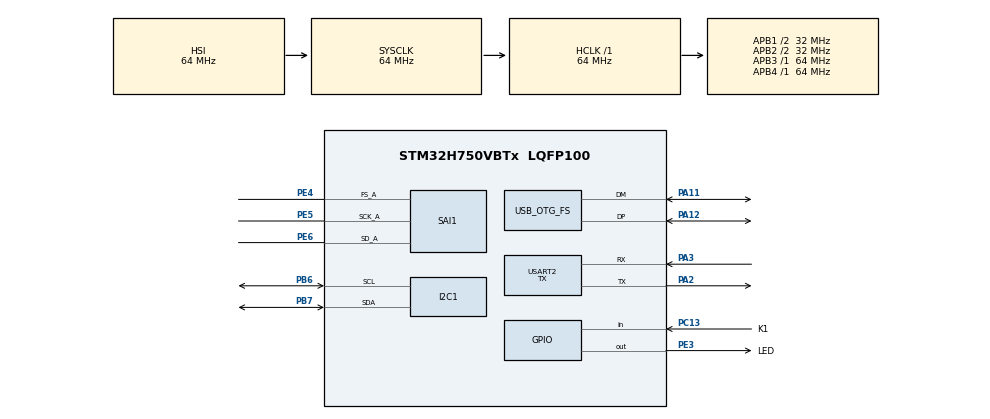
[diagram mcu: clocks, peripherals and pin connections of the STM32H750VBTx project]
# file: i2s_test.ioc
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Dma.Request0=SAI1_A
Dma.SAI1_A.0.Direction=DMA_PERIPH_TO_MEMORY
Dma.SAI1_A.0.EventEnable=DISABLE
Dma.SAI1_A.0.FIFOMode=DMA_FIFOMODE_ENABLE
Dma.SAI1_A.0.FIFOThreshold=DMA_FIFO_THRESHOLD_FULL
Dma.SAI1_A.0.Instance=DMA1_Stream0
Dma.SAI1_A.0.MemBurst=DMA_MBURST_SINGLE
Dma.SAI1_A.0.MemDataAlignment=DMA_MDATAALIGN_HALFWORD
Dma.SAI1_A.0.MemInc=DMA_MINC_ENABLE
Dma.SAI1_A.0.Mode=DMA_CIRCULAR
Dma.SAI1_A.0.PeriphBurst=DMA_PBURST_SINGLE
Dma.SAI1_A.0.PeriphDataAlignment=DMA_PDATAALIGN_HALFWORD
Dma.SAI1_A.0.PeriphInc=DMA_PINC_DISABLE
Dma.SAI1_A.0.Polarity=HAL_DMAMUX_REQ_GEN_RISING
Dma.SAI1_A.0.Priority=DMA_PRIORITY_VERY_HIGH
Dma.SAI1_A.0.RequestNumber=1
Dma.SAI1_A.0.SignalID=NONE
Dma.SAI1_A.0.SyncEnable=DISABLE
Dma.SAI1_A.0.SyncPolarity=HAL_DMAMUX_SYNC_NO_EVENT
Dma.SAI1_A.0.SyncRequestNumber=1
Dma.SAI1_A.0.SyncSignalID=NONE
I2C1.Timing=0x00707CBB
Mcu.Family=STM32H7
Mcu.Name=STM32H750VBTx
Mcu.Package=LQFP100
NVIC.DMA1_Stream0_IRQn=true\:0\:0\:false\:false\:true\:false\:true\:true
NVIC.OTG_FS_IRQn=true\:0\:0\:false\:false\:true\:true\:true\:true
NVIC.PriorityGroup=NVIC_PRIORITYGROUP_4
NVIC.SAI1_IRQn=true\:0\:0\:false\:false\:true\:true\:true\:true
NVIC.TIM1_UP_IRQn=true\:0\:0\:false\:false\:true\:true\:true\:true
PA11.Mode=Device_Only
PA11.Signal=USB_OTG_FS_DM
PA12.Mode=Device_Only
PA12.Signal=USB_OTG_FS_DP
PA2.Mode=Asynchronous
PA2.Signal=USART2_TX
PA3.Mode=Asynchronous
PA3.Signal=USART2_RX
PB6.Mode=I2C
PB6.Signal=I2C1_SCL
PB7.Mode=I2C
PB7.Signal=I2C1_SDA
PC13.GPIO_Label=K1
PC13.GPIO_PuPd=GPIO_PULLDOWN
PC13.Signal=GPIO_Input
PC14-OSC32_IN\ (OSC32_IN).Mode=LSE-External-Oscillator
PC14-OSC32_IN\ (OSC32_IN).Signal=RCC_OSC32_IN
PC15-OSC32_OUT\ (OSC32_OUT).Mode=LSE-External-Oscillator
PC15-OSC32_OUT\ (OSC32_OUT).Signal=RCC_OSC32_OUT
PE3.GPIO_Label=LED
PE3.GPIO_ModeDefaultOutputPP=GPIO_MODE_OUTPUT_PP
PE3.GPIO_PuPd=GPIO_PULLDOWN
PE3.GPIO_Speed=GPIO_SPEED_FREQ_MEDIUM
PE3.PinState=GPIO_PIN_SET
PE3.Signal=GPIO_Output
PE4.Mode=SAI_A_Master
PE4.Signal=SAI1_FS_A
PE5.Mode=SAI_A_Master
PE5.Signal=SAI1_SCK_A
PE6.Mode=SAI_A_Master
PE6.Signal=SAI1_SD_A
PH0-OSC_IN\ (PH0).Mode=HSE-External-Oscillator
PH0-OSC_IN\ (PH0).Signal=RCC_OSC_IN
PH1-OSC_OUT\ (PH1).Mode=HSE-External-Oscillator
PH1-OSC_OUT\ (PH1).Signal=RCC_OSC_OUT
ProjectManager.HeapSize=0x4000
ProjectManager.StackSize=0x2000
ProjectManager.TargetToolchain=Makefile
RCC.ADCFreq_Value=129000000
RCC.APB1Freq_Value=32000000
RCC.APB2Freq_Value=32000000
RCC.APB3Freq_Value=64000000
RCC.APB4Freq_Value=64000000
RCC.CortexFreq_Value=64000000
RCC.D2PPRE1=RCC_APB1_DIV2
RCC.D2PPRE2=RCC_APB2_DIV2
RCC.DIVN1=344
RCC.HCLKFreq_Value=64000000
RCC.PLLFRACN=4254
RCC.SYSCLKFreq_VALUE=64000000
RCC.USBCLockSelection=RCC_USBCLKSOURCE_HSI48
RCC.USBFreq_Value=48000000
SAI1.AudioFrequency-SAI_A_Master=SAI_AUDIO_FREQUENCY_48K
SAI1.AudioMode-SAI_A_Master=SAI_MODEMASTER_RX
SAI1.DataSize-SAI_A_Master=SAI_DATASIZE_16
SAI1.ErrorAudioFreq-SAI_A_Master=1.72 %
SAI1.FrameLength-SAI_A_Master=128
SAI1.Instance-SAI_A_Master=SAI$Index_Block_A
SAI1.MClockEnable=SAI_MASTERCLOCK_DISABLE
SAI1.RealAudioFreq-SAI_A_Master=48.828 KHz
SAI1.SlotNumber-SAI_A_Master=8
SAI1.SlotSize-SAI_A_Master=SAI_SLOTSIZE_16B
SAI1.VirtualMode-SAI_A_Master=VM_MASTER
TIM1.AutoReloadPreload=TIM_AUTORELOAD_PRELOAD_ENABLE
TIM1.Period=8000-1
TIM1.Prescaler=48-1
USART2.Mode=MODE_TX
USART2.VirtualMode-Asynchronous=VM_ASYNC
USB_DEVICE.CLASS_NAME_FS=AUDIO
USB_DEVICE.USBD_AUDIO_FREQ-AUDIO_FS=48000
USB_DEVICE.USBD_MAX_NUM_INTERFACES-AUDIO_FS=2
USB_DEVICE.USBD_MAX_STR_DESC_SIZ-AUDIO_FS=1024
USB_DEVICE.VirtualMode-AUDIO_FS=Audio
USB_DEVICE.VirtualModeFS=Audio_FS
USB_OTG_FS.Sof_enable=ENABLE
USB_OTG_FS.VirtualMode=Device_Only
USB_OTG_FS.dma_enable=DISABLE
VP_TIM1_VS_ClockSourceINT.Mode=Internal
VP_USB_DEVICE_VS_USB_DEVICE_AUDIO_FS.Mode=AUDIO_FS
board=custom

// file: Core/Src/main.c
/* USER CODE BEGIN Header */
/**
  ******************************************************************************
  * @file           : main.c
  * @brief          : Main program body
  ******************************************************************************
  * @attention
  *
  * Copyright (c) 2022 STMicroelectronics.
  * All rights reserved.
  *
  * This software is licensed under terms that can be found in the LICENSE file
  * in the root directory of this software component.
  * If no LICENSE file comes with this software, it is provided AS-IS.
  *
  ******************************************************************************
  */
/* USER CODE END Header */
#include "main.h"
#include "usb_device.h"

/* USER CODE BEGIN Includes */
#include <stdio.h>
#include "retarget.h"
#include "usb_audio_port.h"
#include "audio_debug.h"
/* USER CODE END Includes */

I2C_HandleTypeDef hi2c1;

SAI_HandleTypeDef hsai_BlockA1;
DMA_HandleTypeDef hdma_sai1_a;

UART_HandleTypeDef huart2;

/* USER CODE BEGIN PV */
uint8_t PlayBuff[1024];
/*?????*/
static int16_t Audio_Data_Send_Buf[STEREO_FRAME_SIZE];

/* USER CODE END PV */

void SystemClock_Config(void);
static void MX_GPIO_Init(void);
static void MX_DMA_Init(void);
static void MX_I2C1_Init(void);
static void MX_SAI1_Init(void);
static void MX_USART2_UART_Init(void);
static void MX_TIM1_Init(void);
/* USER CODE BEGIN PFP */

#define SIN_WAVE_SAMPLE_RATE	48000/**< 48K??*/
#define SIN_WAVE_FQ				100/**< 100Hz??*/
#define SIN_WAVE_MAX_POINTS		SIN_WAVE_SAMPLE_RATE/SIN_WAVE_FQ
#define SIN_WAVE_DB_VAL 		50.l

static int16_t Sin_Wave_PCM_Buf[SIN_WAVE_MAX_POINTS] = {0};
static void Sin_Audio_Init(void)
{
  float Average_Range = (float)pow(10.L, (double)((double)SIN_WAVE_DB_VAL - 94.f) / 20.L)*32767.f;
  for(int i = 0; i < SIN_WAVE_MAX_POINTS; i++)
  {
    Sin_Wave_PCM_Buf[i] = Average_Range * sin(2.f*3.14f * SIN_WAVE_FQ / SIN_WAVE_SAMPLE_RATE * i);
  }
}

/**
  ******************************************************************
  * @brief   ??USB????
  * @param   None.
  * @return  None.
  * @author  aron566
  * @version V1.0
  * @date    2021-06-01
  ******************************************************************
  */
static void Test_Audio_Port_Put_Data(void)
{
  /*??USB????*/
  static int index = 0;
  for(int i = 0; i < MONO_FRAME_SIZE; i++)
  {
    Audio_Data_Send_Buf[i] = Sin_Wave_PCM_Buf[index];/**< TO USB LEFT*/
    Audio_Data_Send_Buf[MONO_FRAME_SIZE+i] = Sin_Wave_PCM_Buf[index];/**< TO USB RIGHT*/
    index = ((index+1)%(SIN_WAVE_MAX_POINTS));
  }
}

/* USER CODE END PFP */

/* USER CODE BEGIN 0 */
void loop(void){
	// if(HAL_OK != HAL_SAI_Receive_DMA (&hsai_BlockA1, (uint8_t *) &PlayBuff[0], 128))
	// {
	//   Error_Handler();
	// }

  // for (int i =0; i<480; i++){
  //   printf ("%d ", Sin_Wave_PCM_Buf[i]);
  // }
  // printf("\n");

  /*????????? -> USB*/
  // if(USB_Audio_Port_Can_Put_Data() == false)
  // {
  //   return;
  // }
  Test_Audio_Port_Put_Data();

  // USB_Audio_Port_Put_Data(Sin_Wave_PCM_Buf, Sin_Wave_PCM_Buf);
  // printf("DMA passed\n");

	return;
}
/* USER CODE END 0 */

int main(void)
{

  /* MCU Configuration--------------------------------------------------------*/

  /* Reset of all peripherals, Initializes the Flash interface and the Systick. */
  HAL_Init();

  /* Configure the system clock */
  SystemClock_Config();

  /* Initialize all configured peripherals */
  MX_GPIO_Init();
  MX_DMA_Init();
  MX_I2C1_Init();
  MX_USB_DEVICE_Init();
  MX_SAI1_Init();
  MX_USART2_UART_Init();
  MX_TIM1_Init();
  /* USER CODE BEGIN 2 */

  // enabling printf redirecting to uart device.
  RetargetInit(&huart2);

  // Sinus Signal Generator
  Sin_Audio_Init();

  // USB_Audio_Port_Init();

  /* USER CODE END 2 */

  /* Infinite loop */
  /* USER CODE BEGIN WHILE */

      while (1)
      {
    	  loop();
    /* USER CODE END WHILE */

      }
}

void SystemClock_Config(void)
{
  RCC_OscInitTypeDef RCC_OscInitStruct = {0};
  RCC_ClkInitTypeDef RCC_ClkInitStruct = {0};

  /** Supply configuration update enable
  */
  HAL_PWREx_ConfigSupply(PWR_LDO_SUPPLY);

  /** Configure the main internal regulator output voltage
  */
  __HAL_PWR_VOLTAGESCALING_CONFIG(PWR_REGULATOR_VOLTAGE_SCALE3);

  while(!__HAL_PWR_GET_FLAG(PWR_FLAG_VOSRDY)) {}

  /** Initializes the RCC Oscillators according to the specified parameters
  * in the RCC_OscInitTypeDef structure.
  */
  RCC_OscInitStruct.OscillatorType = RCC_OSCILLATORTYPE_HSI48|RCC_OSCILLATORTYPE_HSI;
  RCC_OscInitStruct.HSIState = RCC_HSI_DIV1;
  RCC_OscInitStruct.HSICalibrationValue = RCC_HSICALIBRATION_DEFAULT;
  RCC_OscInitStruct.HSI48State = RCC_HSI48_ON;
  RCC_OscInitStruct.PLL.PLLState = RCC_PLL_ON;
  RCC_OscInitStruct.PLL.PLLSource = RCC_PLLSOURCE_HSI;
  RCC_OscInitStruct.PLL.PLLM = 32;
  RCC_OscInitStruct.PLL.PLLN = 344;
  RCC_OscInitStruct.PLL.PLLP = 2;
  RCC_OscInitStruct.PLL.PLLQ = 2;
  RCC_OscInitStruct.PLL.PLLR = 2;
  RCC_OscInitStruct.PLL.PLLRGE = RCC_PLL1VCIRANGE_3;
  RCC_OscInitStruct.PLL.PLLVCOSEL = RCC_PLL1VCOMEDIUM;
  RCC_OscInitStruct.PLL.PLLFRACN = 4254;
  if (HAL_RCC_OscConfig(&RCC_OscInitStruct) != HAL_OK)
  {
    Error_Handler();
  }

  /** Initializes the CPU, AHB and APB buses clocks
  */
  RCC_ClkInitStruct.ClockType = RCC_CLOCKTYPE_HCLK|RCC_CLOCKTYPE_SYSCLK
                              |RCC_CLOCKTYPE_PCLK1|RCC_CLOCKTYPE_PCLK2
                              |RCC_CLOCKTYPE_D3PCLK1|RCC_CLOCKTYPE_D1PCLK1;
  RCC_ClkInitStruct.SYSCLKSource = RCC_SYSCLKSOURCE_HSI;
  RCC_ClkInitStruct.SYSCLKDivider = RCC_SYSCLK_DIV1;
  RCC_ClkInitStruct.AHBCLKDivider = RCC_HCLK_DIV1;
  RCC_ClkInitStruct.APB3CLKDivider = RCC_APB3_DIV1;
  RCC_ClkInitStruct.APB1CLKDivider = RCC_APB1_DIV2;
  RCC_ClkInitStruct.APB2CLKDivider = RCC_APB2_DIV2;
  RCC_ClkInitStruct.APB4CLKDivider = RCC_APB4_DIV1;

  if (HAL_RCC_ClockConfig(&RCC_ClkInitStruct, FLASH_LATENCY_1) != HAL_OK)
  {
    Error_Handler();
  }
}

static void MX_I2C1_Init(void)
{

  hi2c1.Instance = I2C1;
  hi2c1.Init.Timing = 0x00707CBB;
  hi2c1.Init.OwnAddress1 = 0;
  hi2c1.Init.AddressingMode = I2C_ADDRESSINGMODE_7BIT;
  hi2c1.Init.DualAddressMode = I2C_DUALADDRESS_DISABLE;
  hi2c1.Init.OwnAddress2 = 0;
  hi2c1.Init.OwnAddress2Masks = I2C_OA2_NOMASK;
  hi2c1.Init.GeneralCallMode = I2C_GENERALCALL_DISABLE;
  hi2c1.Init.NoStretchMode = I2C_NOSTRETCH_DISABLE;
  if (HAL_I2C_Init(&hi2c1) != HAL_OK)
  {
    Error_Handler();
  }

  /** Configure Analogue filter
  */
  if (HAL_I2CEx_ConfigAnalogFilter(&hi2c1, I2C_ANALOGFILTER_ENABLE) != HAL_OK)
  {
    Error_Handler();
  }

  /** Configure Digital filter
  */
  if (HAL_I2CEx_ConfigDigitalFilter(&hi2c1, 0) != HAL_OK)
  {
    Error_Handler();
  }

}

static void MX_SAI1_Init(void)
{

  hsai_BlockA1.Instance = SAI1_Block_A;
  hsai_BlockA1.Init.Protocol = SAI_FREE_PROTOCOL;
  hsai_BlockA1.Init.AudioMode = SAI_MODEMASTER_RX;
  hsai_BlockA1.Init.DataSize = SAI_DATASIZE_16;
  hsai_BlockA1.Init.FirstBit = SAI_FIRSTBIT_MSB;
  hsai_BlockA1.Init.ClockStrobing = SAI_CLOCKSTROBING_FALLINGEDGE;
  hsai_BlockA1.Init.Synchro = SAI_ASYNCHRONOUS;
  hsai_BlockA1.Init.OutputDrive = SAI_OUTPUTDRIVE_DISABLE;
  hsai_BlockA1.Init.NoDivider = SAI_MASTERDIVIDER_ENABLE;
  hsai_BlockA1.Init.FIFOThreshold = SAI_FIFOTHRESHOLD_EMPTY;
  hsai_BlockA1.Init.AudioFrequency = SAI_AUDIO_FREQUENCY_48K;
  hsai_BlockA1.Init.SynchroExt = SAI_SYNCEXT_DISABLE;
  hsai_BlockA1.Init.MonoStereoMode = SAI_STEREOMODE;
  hsai_BlockA1.Init.CompandingMode = SAI_NOCOMPANDING;
  hsai_BlockA1.Init.PdmInit.Activation = DISABLE;
  hsai_BlockA1.Init.PdmInit.MicPairsNbr = 1;
  hsai_BlockA1.Init.PdmInit.ClockEnable = SAI_PDM_CLOCK1_ENABLE;
  hsai_BlockA1.FrameInit.FrameLength = 128;
  hsai_BlockA1.FrameInit.ActiveFrameLength = 1;
  hsai_BlockA1.FrameInit.FSDefinition = SAI_FS_STARTFRAME;
  hsai_BlockA1.FrameInit.FSPolarity = SAI_FS_ACTIVE_LOW;
  hsai_BlockA1.FrameInit.FSOffset = SAI_FS_FIRSTBIT;
  hsai_BlockA1.SlotInit.FirstBitOffset = 0;
  hsai_BlockA1.SlotInit.SlotSize = SAI_SLOTSIZE_16B;
  hsai_BlockA1.SlotInit.SlotNumber = 8;
  hsai_BlockA1.SlotInit.SlotActive = 0x00000000;
  if (HAL_SAI_Init(&hsai_BlockA1) != HAL_OK)
  {
    Error_Handler();
  }

}

static void MX_TIM1_Init(void)
{

  TIM_ClockConfigTypeDef sClockSourceConfig = {0};
  TIM_MasterConfigTypeDef sMasterConfig = {0};

  htim1.Instance = TIM1;
  htim1.Init.Prescaler = 48-1;
  htim1.Init.CounterMode = TIM_COUNTERMODE_UP;
  htim1.Init.Period = 8000-1;
  htim1.Init.ClockDivision = TIM_CLOCKDIVISION_DIV1;
  htim1.Init.RepetitionCounter = 0;
  htim1.Init.AutoReloadPreload = TIM_AUTORELOAD_PRELOAD_ENABLE;
  if (HAL_TIM_Base_Init(&htim1) != HAL_OK)
  {
    Error_Handler();
  }
  sClockSourceConfig.ClockSource = TIM_CLOCKSOURCE_INTERNAL;
  if (HAL_TIM_ConfigClockSource(&htim1, &sClockSourceConfig) != HAL_OK)
  {
    Error_Handler();
  }
  sMasterConfig.MasterOutputTrigger = TIM_TRGO_RESET;
  sMasterConfig.MasterOutputTrigger2 = TIM_TRGO2_RESET;
  sMasterConfig.MasterSlaveMode = TIM_MASTERSLAVEMODE_DISABLE;
  if (HAL_TIMEx_MasterConfigSynchronization(&htim1, &sMasterConfig) != HAL_OK)
  {
    Error_Handler();
  }

}

static void MX_USART2_UART_Init(void)
{

  huart2.Instance = USART2;
  huart2.Init.BaudRate = 115200;
  huart2.Init.WordLength = UART_WORDLENGTH_8B;
  huart2.Init.StopBits = UART_STOPBITS_1;
  huart2.Init.Parity = UART_PARITY_NONE;
  huart2.Init.Mode = UART_MODE_TX;
  huart2.Init.HwFlowCtl = UART_HWCONTROL_NONE;
  huart2.Init.OverSampling = UART_OVERSAMPLING_16;
  huart2.Init.OneBitSampling = UART_ONE_BIT_SAMPLE_DISABLE;
  huart2.Init.ClockPrescaler = UART_PRESCALER_DIV1;
  huart2.AdvancedInit.AdvFeatureInit = UART_ADVFEATURE_NO_INIT;
  if (HAL_UART_Init(&huart2) != HAL_OK)
  {
    Error_Handler();
  }
  if (HAL_UARTEx_SetTxFifoThreshold(&huart2, UART_TXFIFO_THRESHOLD_1_8) != HAL_OK)
  {
    Error_Handler();
  }
  if (HAL_UARTEx_SetRxFifoThreshold(&huart2, UART_RXFIFO_THRESHOLD_1_8) != HAL_OK)
  {
    Error_Handler();
  }
  if (HAL_UARTEx_DisableFifoMode(&huart2) != HAL_OK)
  {
    Error_Handler();
  }

}

static void MX_DMA_Init(void)
{

  /* DMA controller clock enable */
  __HAL_RCC_DMA1_CLK_ENABLE();

  /* DMA interrupt init */
  /* DMA1_Stream0_IRQn interrupt configuration */
  HAL_NVIC_SetPriority(DMA1_Stream0_IRQn, 0, 0);
  HAL_NVIC_EnableIRQ(DMA1_Stream0_IRQn);

}

static void MX_GPIO_Init(void)
{
  GPIO_InitTypeDef GPIO_InitStruct = {0};

  /* GPIO Ports Clock Enable */
  __HAL_RCC_GPIOE_CLK_ENABLE();
  __HAL_RCC_GPIOC_CLK_ENABLE();
  __HAL_RCC_GPIOH_CLK_ENABLE();
  __HAL_RCC_GPIOA_CLK_ENABLE();
  __HAL_RCC_GPIOB_CLK_ENABLE();

  /*Configure GPIO pin Output Level */
  HAL_GPIO_WritePin(LED_GPIO_Port, LED_Pin, GPIO_PIN_SET);

  /*Configure GPIO pin : LED_Pin */
  GPIO_InitStruct.Pin = LED_Pin;
  GPIO_InitStruct.Mode = GPIO_MODE_OUTPUT_PP;
  GPIO_InitStruct.Pull = GPIO_PULLDOWN;
  GPIO_InitStruct.Speed = GPIO_SPEED_FREQ_MEDIUM;
  HAL_GPIO_Init(LED_GPIO_Port, &GPIO_InitStruct);

  /*Configure GPIO pin : K1_Pin */
  GPIO_InitStruct.Pin = K1_Pin;
  GPIO_InitStruct.Mode = GPIO_MODE_INPUT;
  GPIO_InitStruct.Pull = GPIO_PULLDOWN;
  HAL_GPIO_Init(K1_GPIO_Port, &GPIO_InitStruct);

}

void Error_Handler(void)
{
  /* USER CODE BEGIN Error_Handler_Debug */
  /* User can add his own implementation to report the HAL error return state */
  __disable_irq();
  while (1)
  {
    printf("!!! ---> Error Handler IRQ disabled!\n");
    HAL_Delay(10000);
  }
  /* USER CODE END Error_Handler_Debug */
}
